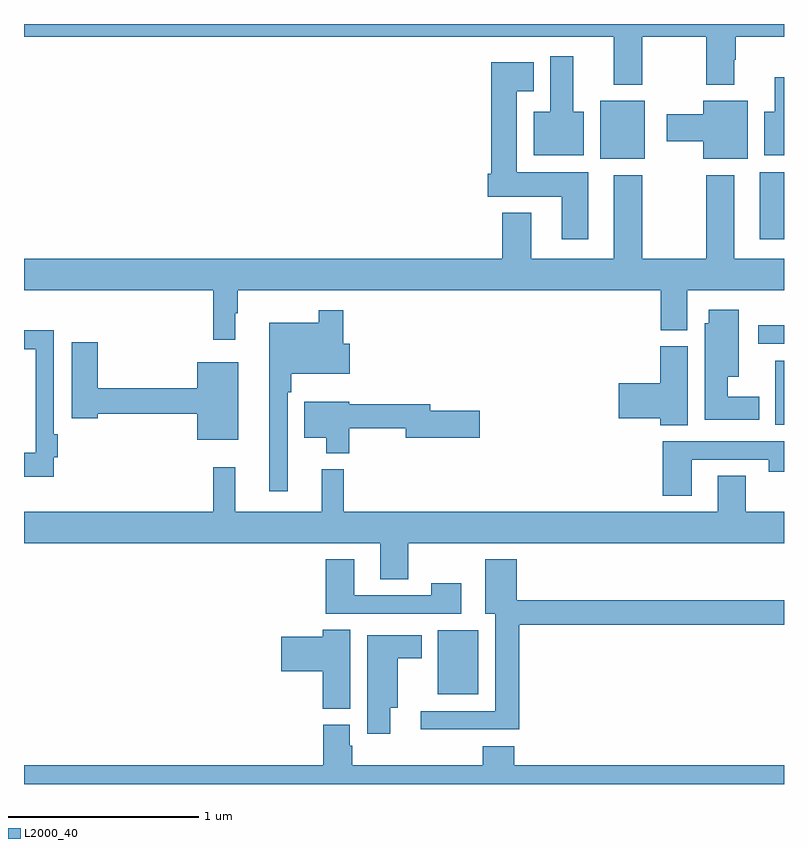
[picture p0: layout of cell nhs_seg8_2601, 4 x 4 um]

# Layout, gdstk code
import gdstk
lib = gdstk.Library(unit=1e-6, precision=1e-09)
def R(c, l, rs):  # rectangles x0, y0, x1, y1
    for r in rs: c.add(gdstk.rectangle(r[:2], r[2:], *l))
def P(c, l, *ps):  # polygons
    for p in ps: c.add(gdstk.Polygon(p, *l))
L2000_40 = (2000, 40)

nhs_seg8_2601 = lib.new_cell('nhs_seg8_2601')
R(nhs_seg8_2601, L2000_40, [(277.178,1114.373,277.39,1114.708), (278.954,1115.792,279,1116.127), (278.865,1116.216,279,1116.314), (278.873,1116.768,279,1117.12), (278.033,1117.19,278.266,1117.495)])
P(nhs_seg8_2601, L2000_40, [(278.253,1117.832),(278.59,1117.832),(278.59,1117.58),(278.737,1117.58),(278.737,1117.712),(278.745,1117.712),(278.745,1117.832),(279,1117.832),(279,1117.9),(275,1117.9),(275,1117.832),(278.105,1117.832),(278.105,1117.58),(278.253,1117.58)],
  [(277.945,1117.438),(277.891,1117.438),(277.891,1117.729),(277.769,1117.729),(277.769,1117.438),(277.682,1117.438),(277.682,1117.208),(277.945,1117.208)],
  [(277.969,1117.12),(277.594,1117.12),(277.594,1117.547),(277.684,1117.547),(277.684,1117.699),(277.46,1117.699),(277.46,1117.113),(277.442,1117.113),(277.442,1116.992),(277.829,1116.992),(277.829,1116.768),(277.969,1116.768)],
  [(279,1117.621),(278.951,1117.621),(278.951,1117.438),(278.897,1117.438),(278.897,1117.208),(279,1117.208)],
  [(278.809,1117.495),(278.576,1117.495),(278.576,1117.425),(278.382,1117.425),(278.382,1117.283),(278.576,1117.283),(278.576,1117.19),(278.809,1117.19)],
  [(276.112,1116.377),(276.124,1116.377),(276.124,1116.5),(278.351,1116.5),(278.351,1116.289),(278.491,1116.289),(278.491,1116.5),(279,1116.5),(279,1116.664),(278.737,1116.664),(278.737,1117.105),(278.59,1117.105),(278.59,1116.664),(278.253,1116.664),(278.253,1117.105),(278.105,1117.105),(278.105,1116.664),(277.669,1116.664),(277.669,1116.907),(277.517,1116.907),(277.517,1116.664),(275,1116.664),(275,1116.5),(275.995,1116.5),(275.995,1116.237),(276.112,1116.237)],
  [(278.869,1115.938),(278.704,1115.938),(278.704,1116.044),(278.761,1116.044),(278.761,1116.397),(278.603,1116.397),(278.603,1116.324),(278.582,1116.324),(278.582,1115.816),(278.869,1115.816)],
  [(276.387,1115.963),(276.407,1115.963),(276.407,1116.059),(276.715,1116.059),(276.715,1116.217),(276.68,1116.217),(276.68,1116.394),(276.552,1116.394),(276.552,1116.328),(276.29,1116.328),(276.29,1115.442),(276.387,1115.442)],
  [(275.157,1115.62),(275.177,1115.62),(275.177,1115.74),(275.157,1115.74),(275.157,1116.289),(275,1116.289),(275,1116.188),(275.061,1116.188),(275.061,1115.644),(275,1115.644),(275,1115.516),(275.157,1115.516)],
  [(276.127,1116.121),(275.912,1116.121),(275.912,1115.984),(275.387,1115.984),(275.387,1116.226),(275.252,1116.226),(275.252,1115.825),(275.387,1115.825),(275.387,1115.848),(275.912,1115.848),(275.912,1115.711),(276.127,1115.711)],
  [(278.494,1116.204),(278.348,1116.204),(278.348,1116.008),(278.13,1116.008),(278.13,1115.825),(278.348,1115.825),(278.348,1115.788),(278.494,1115.788)],
  [(276.712,1115.772),(277.01,1115.772),(277.01,1115.722),(277.399,1115.722),(277.399,1115.864),(277.138,1115.864),(277.138,1115.9),(276.712,1115.9),(276.712,1115.911),(276.476,1115.911),(276.476,1115.723),(276.59,1115.723),(276.59,1115.642),(276.712,1115.642)],
  [(278.515,1115.607),(278.92,1115.607),(278.92,1115.544),(279,1115.544),(279,1115.703),(278.363,1115.703),(278.363,1115.418),(278.515,1115.418)],
  [(277.023,1115.168),(279,1115.168),(279,1115.332),(278.799,1115.332),(278.799,1115.522),(278.651,1115.522),(278.651,1115.332),(276.683,1115.332),(276.683,1115.557),(276.566,1115.557),(276.566,1115.332),(276.113,1115.332),(276.113,1115.566),(275.995,1115.566),(275.995,1115.332),(275,1115.332),(275,1115.168),(276.875,1115.168),(276.875,1114.978),(277.023,1114.978)],
  [(277.607,1114.738),(279,1114.738),(279,1114.867),(277.594,1114.867),(277.594,1115.083),(277.427,1115.083),(277.427,1114.796),(277.481,1114.796),(277.481,1114.284),(277.089,1114.284),(277.089,1114.187),(277.607,1114.187)],
  [(277.3,1114.957),(277.144,1114.957),(277.144,1114.893),(276.739,1114.893),(276.739,1115.083),(276.587,1115.083),(276.587,1114.797),(277.3,1114.797)],
  [(276.718,1114.712),(276.572,1114.712),(276.572,1114.676),(276.354,1114.676),(276.354,1114.493),(276.572,1114.493),(276.572,1114.297),(276.718,1114.297)],
  [(276.928,1114.301),(276.967,1114.301),(276.967,1114.562),(277.093,1114.562),(277.093,1114.684),(276.806,1114.684),(276.806,1114.164),(276.928,1114.164)],
  [(279,1114),(277.58,1114),(277.58,1114.099),(277.415,1114.099),(277.415,1114),(276.728,1114),(276.728,1114.101),(276.715,1114.101),(276.715,1114.212),(276.575,1114.212),(276.575,1114),(275,1114),(275,1113.9),(279,1113.9)])

lib.write_gds('nhs_seg8_2601.gds')
